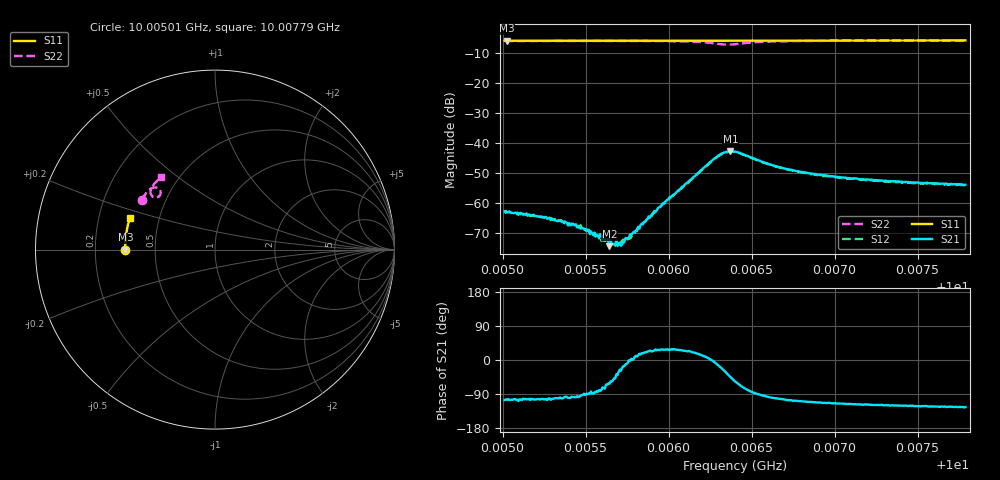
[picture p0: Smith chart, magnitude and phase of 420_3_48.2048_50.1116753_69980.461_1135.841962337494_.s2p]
#  HZ  S  RI  R  50.00
! Rohde & Schwarz Vector Network Analyzer
! Rohde-Schwarz,ZNB20-2Port,1311601062101988,3.16
! Created: UTC 3/20/2024, 11:54:54 AM
! freq[Hz]  re:S11  im:S11  re:S21  im:S21  re:S12  im:S12  re:S22  im:S22
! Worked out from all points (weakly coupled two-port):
!   401 points, 10.00501 GHz to 10.00779 GHz, reference 50 ohm
!   highest |S21| = -42.76 dB at 10.00637 GHz (marker M1); lowest = -74.3 dB at 10.00564 GHz (marker M2)
!   lowest |S11| = -6.0 dB at 10.00503 GHz (marker M3), VSWR 3.00, Z = 16.7 - j0.0276 ohm
!   |S11| at or under -10 dB: nowhere
!   |S22| runs from -7.3 to -6.0 dB; largest |S21 - S12| = 0.00043
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1.0005013e10  -0.4997 -0.00158  -0.000195 -0.000703  -0.000109 -0.000669  -0.4091 0.2782
1.0005026e10  -0.4997 -0.000621  -0.000184 -0.000684  -0.000153 -0.000686  -0.4084 0.279
1.0005269e10  -0.4999 0.0152  -0.00015 -0.000529  -0.00011 -0.000549  -0.3992 0.2935
1.0005429e10  -0.4999 0.0256  -6.32e-05 -0.000439  -4.12e-05 -0.000449  -0.3926 0.3028
1.0005478e10  -0.4998 0.0287  -1.54e-05 -0.000387  -6.77e-06 -0.000381  -0.3904 0.3058
1.0005609e10  -0.4995 0.0372  6.58e-05 -0.000227  8.6e-05 -0.00024  -0.3843 0.3137
1.0005644e10  -0.4994 0.0395  8.86e-05 -0.000171  0.000131 -0.000214  -0.3823 0.3159
1.0005658e10  -0.4994 0.0405  0.000113 -0.000172  0.000116 -0.000189  -0.3816 0.3168
1.0005686e10  -0.4992 0.0422  0.000188 -0.000146  0.000176 -0.000148  -0.3801 0.3185
1.0005707e10  -0.4992 0.0434  0.000189 -8.99e-05  0.000199 -9.51e-05  -0.379 0.3198
1.000572e10  -0.4991 0.0444  0.000194 -7.24e-05  0.00022 -8.92e-05  -0.3781 0.3205
1.0005769e10  -0.499 0.0476  0.000304 -1.1e-05  0.000258 3.9e-06  -0.3755 0.3238
1.0005831e10  -0.4986 0.0515  0.000421 0.000112  0.000391 0.000127  -0.3716 0.3277
1.0005943e10  -0.498 0.0588  0.000764 0.000381  0.000705 0.00041  -0.3632 0.3351
1.0006283e10  -0.4952 0.0807  0.00561 -0.000766  0.00554 -0.000474  -0.3057 0.33
1.0006331e10  -0.4946 0.0834  0.00615 -0.00309  0.00617 -0.00269  -0.3039 0.3092
1.0006373e10  -0.4945 0.0859  0.00517 -0.00513  0.00535 -0.0048  -0.3159 0.2938
1.0006401e10  -0.4941 0.0874  0.00399 -0.00599  0.00422 -0.00566  -0.3276 0.29
1.000665e10  -0.4921 0.1035  -0.000814 -0.00402  -0.000595 -0.00397  -0.3583 0.331
1.0006866e10  -0.4896 0.1173  -0.00109 -0.0029  -0.00101 -0.00289  -0.3487 0.3522
1.000733e10  -0.4826 0.1465  -0.00113 -0.00199  -0.00102 -0.00202  -0.3253 0.3808
1.0007789e10  -0.4741 0.1747  -0.00114 -0.00167  -0.00106 -0.00172  -0.3018 0.4023
